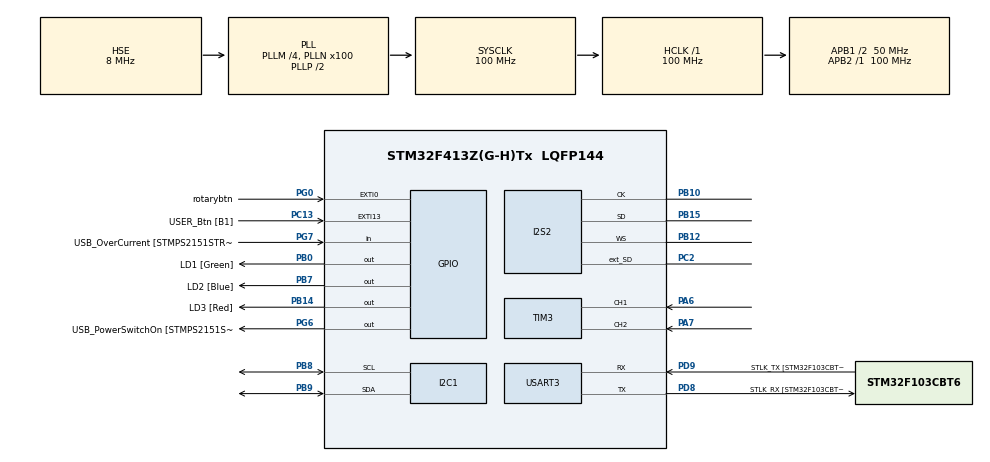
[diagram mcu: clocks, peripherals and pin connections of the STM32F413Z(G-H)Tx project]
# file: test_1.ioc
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Dma.I2S2_EXT_TX.1.Direction=DMA_MEMORY_TO_PERIPH
Dma.I2S2_EXT_TX.1.FIFOMode=DMA_FIFOMODE_DISABLE
Dma.I2S2_EXT_TX.1.Instance=DMA1_Stream4
Dma.I2S2_EXT_TX.1.MemDataAlignment=DMA_MDATAALIGN_HALFWORD
Dma.I2S2_EXT_TX.1.MemInc=DMA_MINC_ENABLE
Dma.I2S2_EXT_TX.1.Mode=DMA_CIRCULAR
Dma.I2S2_EXT_TX.1.PeriphDataAlignment=DMA_PDATAALIGN_HALFWORD
Dma.I2S2_EXT_TX.1.PeriphInc=DMA_PINC_DISABLE
Dma.I2S2_EXT_TX.1.Priority=DMA_PRIORITY_VERY_HIGH
Dma.Request0=SPI2_RX
Dma.Request1=I2S2_EXT_TX
Dma.SPI2_RX.0.Direction=DMA_PERIPH_TO_MEMORY
Dma.SPI2_RX.0.FIFOMode=DMA_FIFOMODE_DISABLE
Dma.SPI2_RX.0.Instance=DMA1_Stream3
Dma.SPI2_RX.0.MemDataAlignment=DMA_MDATAALIGN_HALFWORD
Dma.SPI2_RX.0.MemInc=DMA_MINC_ENABLE
Dma.SPI2_RX.0.Mode=DMA_CIRCULAR
Dma.SPI2_RX.0.PeriphDataAlignment=DMA_PDATAALIGN_HALFWORD
Dma.SPI2_RX.0.PeriphInc=DMA_PINC_DISABLE
Dma.SPI2_RX.0.Priority=DMA_PRIORITY_VERY_HIGH
I2S2.AudioFreq=I2S_AUDIOFREQ_48K
I2S2.DataFormat=I2S_DATAFORMAT_16B
I2S2.ErrorAudioFreq=0.15 %
I2S2.FullDuplexMode=I2S_FULLDUPLEXMODE_ENABLE
I2S2.Instance=SPI$Index
I2S2.Mode=I2S_MODE_MASTER_RX
I2S2.RealAudioFreq=48.076 KHz
I2S2.VirtualMode=I2S_MODE_MASTER
Mcu.Family=STM32F4
Mcu.Name=STM32F413Z(G-H)Tx
Mcu.Package=LQFP144
NVIC.DMA1_Stream3_IRQn=true\:0\:0\:false\:false\:true\:false\:true\:true
NVIC.DMA1_Stream4_IRQn=true\:0\:0\:false\:false\:true\:false\:true\:true
NVIC.EXTI0_IRQn=true\:0\:0\:false\:false\:true\:true\:true\:true
NVIC.PriorityGroup=NVIC_PRIORITYGROUP_4
NVIC.TIM3_IRQn=true\:0\:0\:false\:false\:true\:true\:true\:true
NVIC.TIM6_DAC_IRQn=true\:0\:0\:false\:false\:true\:true\:true\:true
PA0.Signal=S_TIM2_CH1_ETR
PA1.Signal=S_TIM2_CH2
PA10.GPIO_Label=USB_ID
PA10.Signal=USB_OTG_FS_ID
PA11.GPIO_Label=USB_DM
PA11.Signal=USB_OTG_FS_DM
PA12.GPIO_Label=USB_DP
PA12.Signal=USB_OTG_FS_DP
PA13.GPIO_Label=TMS
PA13.Mode=Serial_Wire
PA13.Signal=SYS_JTMS-SWDIO
PA14.GPIO_Label=TCK
PA14.Mode=Serial_Wire
PA14.Signal=SYS_JTCK-SWCLK
PA6.Signal=S_TIM3_CH1
PA7.Signal=S_TIM3_CH2
PA8.GPIO_Label=USB_SOF [TP1]
PA8.Signal=USB_OTG_FS_SOF
PA9.GPIO_Label=USB_VBUS
PA9.Signal=USB_OTG_FS_VBUS
PB0.GPIO_Label=LD1 [Green]
PB0.Signal=GPIO_Output
PB10.Mode=Full_Duplex_Master
PB10.Signal=I2S2_CK
PB12.Mode=Full_Duplex_Master
PB12.Signal=I2S2_WS
PB14.GPIO_Label=LD3 [Red]
PB14.Signal=GPIO_Output
PB15.Mode=Full_Duplex_Master
PB15.Signal=I2S2_SD
PB3.GPIO_Label=SWO
PB3.Signal=SYS_JTDO-SWO
PB7.GPIO_Label=LD2 [Blue]
PB7.Signal=GPIO_Output
PB8.GPIO_Pu=GPIO_NOPULL
PB8.Mode=I2C
PB8.Signal=I2C1_SCL
PB9.GPIO_Pu=GPIO_NOPULL
PB9.Mode=I2C
PB9.Signal=I2C1_SDA
PC13.GPIO_Label=USER_Btn [B1]
PC13.Signal=GPXTI13
PC14-OSC32_IN.Signal=RCC_OSC32_IN
PC15-OSC32_OUT.Signal=RCC_OSC32_OUT
PC2.Mode=Full_Duplex_Master
PC2.Signal=I2S2_ext_SD
PD8.GPIO_Label=STLK_RX [STM32F103CBT6_PA3]
PD8.Mode=Asynchronous
PD8.Signal=USART3_TX
PD9.GPIO_Label=STLK_TX [STM32F103CBT6_PA2]
PD9.Mode=Asynchronous
PD9.Signal=USART3_RX
PG0.GPIO_Label=rotarybtn
PG0.Signal=GPXTI0
PG6.GPIO_Label=USB_PowerSwitchOn [STMPS2151STR_EN]
PG6.Signal=GPIO_Output
PG7.GPIO_Label=USB_OverCurrent [STMPS2151STR_FAULT]
PG7.GPIO_PuPd=GPIO_NOPULL
PG7.Signal=GPIO_Input
PH0\ -\ OSC_IN.GPIO_Label=MCO
PH0\ -\ OSC_IN.Mode=HSE-External-Oscillator
PH0\ -\ OSC_IN.Signal=RCC_OSC_IN
PH1\ -\ OSC_OUT.Mode=HSE-External-Oscillator
PH1\ -\ OSC_OUT.Signal=RCC_OSC_OUT
ProjectManager.HeapSize=0x200
ProjectManager.StackSize=0x400
ProjectManager.TargetToolchain=STM32CubeIDE
RCC.48MHZClocksFreq_Value=24000000
RCC.AHBFreq_Value=100000000
RCC.APB1CLKDivider=RCC_HCLK_DIV2
RCC.APB1Freq_Value=50000000
RCC.APB1TimFreq_Value=100000000
RCC.APB2Freq_Value=100000000
RCC.APB2TimFreq_Value=100000000
RCC.CortexFreq_Value=100000000
RCC.HCLKFreq_Value=100000000
RCC.HSE_VALUE=8000000
RCC.HSI_VALUE=16000000
RCC.PLLI2SM=4
RCC.PLLI2SN=200
RCC.PLLM=4
RCC.PLLMUL=RCC_PLL_MUL9
RCC.PLLN=100
RCC.PLLQ=8
RCC.PLLR=3
RCC.PLLSourceVirtual=RCC_PLLSOURCE_HSE
RCC.PRESCALERUSB=RCC_USBCLKSOURCE_PLL_DIV1_5
RCC.SYSCLKFreq_VALUE=100000000
RCC.SYSCLKSource=RCC_SYSCLKSOURCE_PLLCLK
RCC.SYSCLKSourceVirtual=RCC_SYSCLKSOURCE_PLLCLK
RCC.USBFreq_Value=25000000
RCC.VCOOutputFreq_Value=200000000
SH.S_TIM2_CH1_ETR.0=TIM2_CH1
SH.S_TIM2_CH2.0=TIM2_CH2
SH.S_TIM3_CH1.0=TIM3_CH1,Encoder_Interface
SH.S_TIM3_CH2.0=TIM3_CH2,Encoder_Interface
TIM3.EncoderMode=TIM_ENCODERMODE_TI12
TIM6.Period=59999
TIM6.Prescaler=15
USART3.VirtualMode=VM_ASYNC
VP_TIM6_VS_ClockSourceINT.Mode=Enable_Timer
board=NUCLEO-F413ZH

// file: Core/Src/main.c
/* USER CODE BEGIN Header */
/**
 ******************************************************************************
 * @file           : main.c
 * @brief          : Main program body
 ******************************************************************************
 * @attention
 *
 * Copyright (c) 2024 STMicroelectronics.
 * All rights reserved.
 *
 * This software is licensed under terms that can be found in the LICENSE file
 * in the root directory of this software component.
 * If no LICENSE file comes with this software, it is provided AS-IS.
 *
 ******************************************************************************
 */
/* USER CODE END Header */
#include "main.h"

/* USER CODE BEGIN Includes */
#include "stm32f4xx_hal_i2s.h"
#include "wm8960.h"
#include <stdio.h>
#include <string.h>

/* USER CODE END Includes */

/* USER CODE BEGIN PD */

#define INT16_TO_FLOAT 1.0f / 32768.0f
#define FLOAT_TO_INT16 32768.0f
#define BUFFER_SIZE 128

/* USER CODE END PD */

I2C_HandleTypeDef hi2c1;

I2S_HandleTypeDef hi2s2;
DMA_HandleTypeDef hdma_spi2_rx;
DMA_HandleTypeDef hdma_i2s2_ext_tx;

TIM_HandleTypeDef htim3;
TIM_HandleTypeDef htim6;

UART_HandleTypeDef huart3;

/* USER CODE BEGIN PV */
WM8960_t *codecInstance = NULL;
int16_t adcData[BUFFER_SIZE];
int16_t dacData[BUFFER_SIZE];

/* USER CODE END PV */

void SystemClock_Config(void);
static void MX_GPIO_Init(void);
static void MX_DMA_Init(void);
static void MX_USART3_UART_Init(void);
static void MX_I2C1_Init(void);
static void MX_TIM3_Init(void);
static void MX_TIM6_Init(void);
static void MX_I2S2_Init(void);

/* USER CODE BEGIN 0 */

void HAL_I2SEx_TxRxHalfCpltCallback(I2S_HandleTypeDef *hi2s) {
	memcpy(dacData, adcData, (BUFFER_SIZE/2) * sizeof(adcData[0]));
}

void HAL_I2SEx_TxRxCpltCallback(I2S_HandleTypeDef *hi2s) {
	memcpy(dacData + (BUFFER_SIZE/2), adcData+ (BUFFER_SIZE/2), (BUFFER_SIZE/2) * sizeof(adcData[0]));
}

uint32_t cnt = 0;
void HAL_TIM_IC_CaptureCallback(TIM_HandleTypeDef *htim) {
  cnt = __HAL_TIM_GET_COUNTER(htim);
  char str[10];

  sprintf(&str, "%lu", cnt);
}

void HAL_GPIO_EXTI_Callback(uint16_t GPIO_Pin) {
  if (GPIO_Pin == rotarybtn_Pin) {
    HAL_TIM_Base_Start_IT(&htim6);
  }
}

void HAL_TIM_PeriodElapsedCallback(TIM_HandleTypeDef *htim) {
  if (htim->Instance == TIM6) {
    // Debounce timer elapsed, check button state
    if (HAL_GPIO_ReadPin(rotarybtn_GPIO_Port, rotarybtn_Pin) == GPIO_PIN_SET) {
      // Button is still pressed after debounce period
      HAL_GPIO_TogglePin(LD1_GPIO_Port, LD1_Pin);
    }
    // Stop the timer until the next press
    HAL_TIM_Base_Stop_IT(htim);
  }
}

bool state = true;

/* USER CODE END 0 */

int main(void)
{

  /* USER CODE BEGIN 1 */
  char messageBuf[128];
  /* USER CODE END 1 */

  /* MCU Configuration--------------------------------------------------------*/

  /* Reset of all peripherals, Initializes the Flash interface and the Systick. */
  HAL_Init();

  /* Configure the system clock */
  SystemClock_Config();

  /* Initialize all configured peripherals */
  MX_GPIO_Init();
  MX_DMA_Init();
  MX_USART3_UART_Init();
  MX_I2C1_Init();
  MX_TIM3_Init();
  MX_TIM6_Init();
  MX_I2S2_Init();
  /* USER CODE BEGIN 2 */

  // This timer is used for the incremental encoder
  HAL_TIM_Encoder_Start_IT(&htim3, TIM_CHANNEL_ALL);
  HAL_I2SEx_TransmitReceive_DMA(&hi2s2, dacData, adcData, BUFFER_SIZE);
  /* USER CODE END 2 */

  /* Infinite loop */
  while (1) {

    /* USER CODE BEGIN 3 */

    // memcpy(outBufPtr, inBufPtr, BUFFER_SIZE * sizeof(outBufPtr[0]));
    //
    // HAL_StatusTypeDef halReturnStatus =
    //     HAL_I2SEx_TransmitReceive(&hi2s2, inBufPtr, inBufPtr, BUFFER_SIZE,
    //     8);
    //
    // if (halReturnStatus != HAL_OK) {
    //   strcpy((char *)messageBuf, "[ERROR] Failed to start I2S TX/RX.\r\n");
    //   HAL_UART_Transmit(&huart3, (uint8_t *)&messageBuf, strlen(messageBuf),
    //                     HAL_MAX_DELAY);
    // }
  }
  /* USER CODE END 3 */
}

void SystemClock_Config(void)
{
  RCC_OscInitTypeDef RCC_OscInitStruct = {0};
  RCC_ClkInitTypeDef RCC_ClkInitStruct = {0};

  /** Configure the main internal regulator output voltage
  */
  __HAL_RCC_PWR_CLK_ENABLE();
  __HAL_PWR_VOLTAGESCALING_CONFIG(PWR_REGULATOR_VOLTAGE_SCALE1);

  /** Initializes the RCC Oscillators according to the specified parameters
  * in the RCC_OscInitTypeDef structure.
  */
  RCC_OscInitStruct.OscillatorType = RCC_OSCILLATORTYPE_HSE;
  RCC_OscInitStruct.HSEState = RCC_HSE_ON;
  RCC_OscInitStruct.PLL.PLLState = RCC_PLL_ON;
  RCC_OscInitStruct.PLL.PLLSource = RCC_PLLSOURCE_HSE;
  RCC_OscInitStruct.PLL.PLLM = 4;
  RCC_OscInitStruct.PLL.PLLN = 100;
  RCC_OscInitStruct.PLL.PLLP = RCC_PLLP_DIV2;
  RCC_OscInitStruct.PLL.PLLQ = 8;
  RCC_OscInitStruct.PLL.PLLR = 3;
  if (HAL_RCC_OscConfig(&RCC_OscInitStruct) != HAL_OK)
  {
    Error_Handler();
  }

  /** Initializes the CPU, AHB and APB buses clocks
  */
  RCC_ClkInitStruct.ClockType = RCC_CLOCKTYPE_HCLK|RCC_CLOCKTYPE_SYSCLK
                              |RCC_CLOCKTYPE_PCLK1|RCC_CLOCKTYPE_PCLK2;
  RCC_ClkInitStruct.SYSCLKSource = RCC_SYSCLKSOURCE_PLLCLK;
  RCC_ClkInitStruct.AHBCLKDivider = RCC_SYSCLK_DIV1;
  RCC_ClkInitStruct.APB1CLKDivider = RCC_HCLK_DIV2;
  RCC_ClkInitStruct.APB2CLKDivider = RCC_HCLK_DIV1;

  if (HAL_RCC_ClockConfig(&RCC_ClkInitStruct, FLASH_LATENCY_3) != HAL_OK)
  {
    Error_Handler();
  }
}

static void MX_I2C1_Init(void)
{

  hi2c1.Instance = I2C1;
  hi2c1.Init.ClockSpeed = 100000;
  hi2c1.Init.DutyCycle = I2C_DUTYCYCLE_2;
  hi2c1.Init.OwnAddress1 = 0;
  hi2c1.Init.AddressingMode = I2C_ADDRESSINGMODE_7BIT;
  hi2c1.Init.DualAddressMode = I2C_DUALADDRESS_DISABLE;
  hi2c1.Init.OwnAddress2 = 0;
  hi2c1.Init.GeneralCallMode = I2C_GENERALCALL_DISABLE;
  hi2c1.Init.NoStretchMode = I2C_NOSTRETCH_DISABLE;
  if (HAL_I2C_Init(&hi2c1) != HAL_OK)
  {
    Error_Handler();
  }
  /* USER CODE BEGIN I2C1_Init 2 */
  //  Codec I2C setup {{{
  char messageBuf[100];
  if (!WM8960_isReady(&hi2c1)) {
    strcpy((char *)messageBuf,
           "[ERROR] I2C Communication with codec failed, device not ready. "
           "Aborting, restart device.\r\n");
    HAL_UART_Transmit(&huart3, (uint8_t *)&messageBuf, strlen(messageBuf),
                      HAL_MAX_DELAY);
  }

  HAL_StatusTypeDef halReturnStatus = HAL_OK;
  halReturnStatus += WM8960_init(&hi2c1, &codecInstance);

  if (halReturnStatus != HAL_OK) {
    strcpy((char *)messageBuf,
           "[ERROR] I2C initialization failed. Aborting.\r\n");
    HAL_UART_Transmit(&huart3, (uint8_t *)&messageBuf, strlen(messageBuf),
                      HAL_MAX_DELAY);
  }

  strcpy((char *)messageBuf, "[DEBUG] Codec setup OK\r\n");
  HAL_UART_Transmit(&huart3, (uint8_t *)&messageBuf, strlen(messageBuf),
                    HAL_MAX_DELAY);
  // }}}

  /* USER CODE END I2C1_Init 2 */

}

static void MX_I2S2_Init(void)
{

  hi2s2.Instance = SPI2;
  hi2s2.Init.Mode = I2S_MODE_MASTER_RX;
  hi2s2.Init.Standard = I2S_STANDARD_PHILIPS;
  hi2s2.Init.DataFormat = I2S_DATAFORMAT_16B;
  hi2s2.Init.MCLKOutput = I2S_MCLKOUTPUT_DISABLE;
  hi2s2.Init.AudioFreq = I2S_AUDIOFREQ_48K;
  hi2s2.Init.CPOL = I2S_CPOL_LOW;
  hi2s2.Init.ClockSource = I2S_CLOCK_PLL;
  hi2s2.Init.FullDuplexMode = I2S_FULLDUPLEXMODE_ENABLE;
  if (HAL_I2S_Init(&hi2s2) != HAL_OK)
  {
    Error_Handler();
  }

}

static void MX_TIM3_Init(void)
{

  TIM_Encoder_InitTypeDef sConfig = {0};
  TIM_MasterConfigTypeDef sMasterConfig = {0};

  htim3.Instance = TIM3;
  htim3.Init.Prescaler = 0;
  htim3.Init.CounterMode = TIM_COUNTERMODE_UP;
  htim3.Init.Period = 65535;
  htim3.Init.ClockDivision = TIM_CLOCKDIVISION_DIV1;
  htim3.Init.AutoReloadPreload = TIM_AUTORELOAD_PRELOAD_DISABLE;
  sConfig.EncoderMode = TIM_ENCODERMODE_TI12;
  sConfig.IC1Polarity = TIM_ICPOLARITY_RISING;
  sConfig.IC1Selection = TIM_ICSELECTION_DIRECTTI;
  sConfig.IC1Prescaler = TIM_ICPSC_DIV1;
  sConfig.IC1Filter = 0;
  sConfig.IC2Polarity = TIM_ICPOLARITY_RISING;
  sConfig.IC2Selection = TIM_ICSELECTION_DIRECTTI;
  sConfig.IC2Prescaler = TIM_ICPSC_DIV1;
  sConfig.IC2Filter = 0;
  if (HAL_TIM_Encoder_Init(&htim3, &sConfig) != HAL_OK)
  {
    Error_Handler();
  }
  sMasterConfig.MasterOutputTrigger = TIM_TRGO_RESET;
  sMasterConfig.MasterSlaveMode = TIM_MASTERSLAVEMODE_DISABLE;
  if (HAL_TIMEx_MasterConfigSynchronization(&htim3, &sMasterConfig) != HAL_OK)
  {
    Error_Handler();
  }

}

static void MX_TIM6_Init(void)
{

  TIM_MasterConfigTypeDef sMasterConfig = {0};

  htim6.Instance = TIM6;
  htim6.Init.Prescaler = 15;
  htim6.Init.CounterMode = TIM_COUNTERMODE_UP;
  htim6.Init.Period = 59999;
  htim6.Init.AutoReloadPreload = TIM_AUTORELOAD_PRELOAD_DISABLE;
  if (HAL_TIM_Base_Init(&htim6) != HAL_OK)
  {
    Error_Handler();
  }
  sMasterConfig.MasterOutputTrigger = TIM_TRGO_RESET;
  sMasterConfig.MasterSlaveMode = TIM_MASTERSLAVEMODE_DISABLE;
  if (HAL_TIMEx_MasterConfigSynchronization(&htim6, &sMasterConfig) != HAL_OK)
  {
    Error_Handler();
  }

}

static void MX_USART3_UART_Init(void)
{

  huart3.Instance = USART3;
  huart3.Init.BaudRate = 115200;
  huart3.Init.WordLength = UART_WORDLENGTH_8B;
  huart3.Init.StopBits = UART_STOPBITS_1;
  huart3.Init.Parity = UART_PARITY_NONE;
  huart3.Init.Mode = UART_MODE_TX_RX;
  huart3.Init.HwFlowCtl = UART_HWCONTROL_NONE;
  huart3.Init.OverSampling = UART_OVERSAMPLING_16;
  if (HAL_UART_Init(&huart3) != HAL_OK)
  {
    Error_Handler();
  }

}

static void MX_DMA_Init(void)
{

  /* DMA controller clock enable */
  __HAL_RCC_DMA1_CLK_ENABLE();

  /* DMA interrupt init */
  /* DMA1_Stream3_IRQn interrupt configuration */
  HAL_NVIC_SetPriority(DMA1_Stream3_IRQn, 0, 0);
  HAL_NVIC_EnableIRQ(DMA1_Stream3_IRQn);
  /* DMA1_Stream4_IRQn interrupt configuration */
  HAL_NVIC_SetPriority(DMA1_Stream4_IRQn, 0, 0);
  HAL_NVIC_EnableIRQ(DMA1_Stream4_IRQn);

}

static void MX_GPIO_Init(void)
{
  GPIO_InitTypeDef GPIO_InitStruct = {0};

  /* GPIO Ports Clock Enable */
  __HAL_RCC_GPIOC_CLK_ENABLE();
  __HAL_RCC_GPIOH_CLK_ENABLE();
  __HAL_RCC_GPIOA_CLK_ENABLE();
  __HAL_RCC_GPIOB_CLK_ENABLE();
  __HAL_RCC_GPIOG_CLK_ENABLE();
  __HAL_RCC_GPIOD_CLK_ENABLE();

  /*Configure GPIO pin Output Level */
  HAL_GPIO_WritePin(GPIOB, LD1_Pin|LD3_Pin|LD2_Pin, GPIO_PIN_RESET);

  /*Configure GPIO pin Output Level */
  HAL_GPIO_WritePin(USB_PowerSwitchOn_GPIO_Port, USB_PowerSwitchOn_Pin, GPIO_PIN_RESET);

  /*Configure GPIO pin : USER_Btn_Pin */
  GPIO_InitStruct.Pin = USER_Btn_Pin;
  GPIO_InitStruct.Mode = GPIO_MODE_IT_RISING;
  GPIO_InitStruct.Pull = GPIO_NOPULL;
  HAL_GPIO_Init(USER_Btn_GPIO_Port, &GPIO_InitStruct);

  /*Configure GPIO pins : PA0 PA1 */
  GPIO_InitStruct.Pin = GPIO_PIN_0|GPIO_PIN_1;
  GPIO_InitStruct.Mode = GPIO_MODE_AF_PP;
  GPIO_InitStruct.Pull = GPIO_NOPULL;
  GPIO_InitStruct.Speed = GPIO_SPEED_FREQ_LOW;
  GPIO_InitStruct.Alternate = GPIO_AF1_TIM2;
  HAL_GPIO_Init(GPIOA, &GPIO_InitStruct);

  /*Configure GPIO pins : LD1_Pin LD3_Pin LD2_Pin */
  GPIO_InitStruct.Pin = LD1_Pin|LD3_Pin|LD2_Pin;
  GPIO_InitStruct.Mode = GPIO_MODE_OUTPUT_PP;
  GPIO_InitStruct.Pull = GPIO_NOPULL;
  GPIO_InitStruct.Speed = GPIO_SPEED_FREQ_LOW;
  HAL_GPIO_Init(GPIOB, &GPIO_InitStruct);

  /*Configure GPIO pin : rotarybtn_Pin */
  GPIO_InitStruct.Pin = rotarybtn_Pin;
  GPIO_InitStruct.Mode = GPIO_MODE_IT_RISING;
  GPIO_InitStruct.Pull = GPIO_NOPULL;
  HAL_GPIO_Init(rotarybtn_GPIO_Port, &GPIO_InitStruct);

  /*Configure GPIO pin : USB_PowerSwitchOn_Pin */
  GPIO_InitStruct.Pin = USB_PowerSwitchOn_Pin;
  GPIO_InitStruct.Mode = GPIO_MODE_OUTPUT_PP;
  GPIO_InitStruct.Pull = GPIO_NOPULL;
  GPIO_InitStruct.Speed = GPIO_SPEED_FREQ_LOW;
  HAL_GPIO_Init(USB_PowerSwitchOn_GPIO_Port, &GPIO_InitStruct);

  /*Configure GPIO pin : USB_OverCurrent_Pin */
  GPIO_InitStruct.Pin = USB_OverCurrent_Pin;
  GPIO_InitStruct.Mode = GPIO_MODE_INPUT;
  GPIO_InitStruct.Pull = GPIO_NOPULL;
  HAL_GPIO_Init(USB_OverCurrent_GPIO_Port, &GPIO_InitStruct);

  /*Configure GPIO pins : USB_SOF_Pin USB_ID_Pin USB_DM_Pin USB_DP_Pin */
  GPIO_InitStruct.Pin = USB_SOF_Pin|USB_ID_Pin|USB_DM_Pin|USB_DP_Pin;
  GPIO_InitStruct.Mode = GPIO_MODE_AF_PP;
  GPIO_InitStruct.Pull = GPIO_NOPULL;
  GPIO_InitStruct.Speed = GPIO_SPEED_FREQ_VERY_HIGH;
  GPIO_InitStruct.Alternate = GPIO_AF10_OTG_FS;
  HAL_GPIO_Init(GPIOA, &GPIO_InitStruct);

  /* EXTI interrupt init*/
  HAL_NVIC_SetPriority(EXTI0_IRQn, 0, 0);
  HAL_NVIC_EnableIRQ(EXTI0_IRQn);

}

void Error_Handler(void)
{
  __disable_irq();
  while (1) {
  }
}

#ifdef  USE_FULL_ASSERT
/**
  * @brief  Reports the name of the source file and the source line number
  *         where the assert_param error has occurred.
  * @param  file: pointer to the source file name
  * @param  line: assert_param error line source number
  * @retval None
  */
void assert_failed(uint8_t *file, uint32_t line)
{
  /* USER CODE BEGIN 6 */
  /* User can add his own implementation to report the file name and line
     number, ex: printf("Wrong parameters value: file %s on line %d\r\n", file,
     line) */
  /* USER CODE END 6 */
}
#endif /* USE_FULL_ASSERT */
